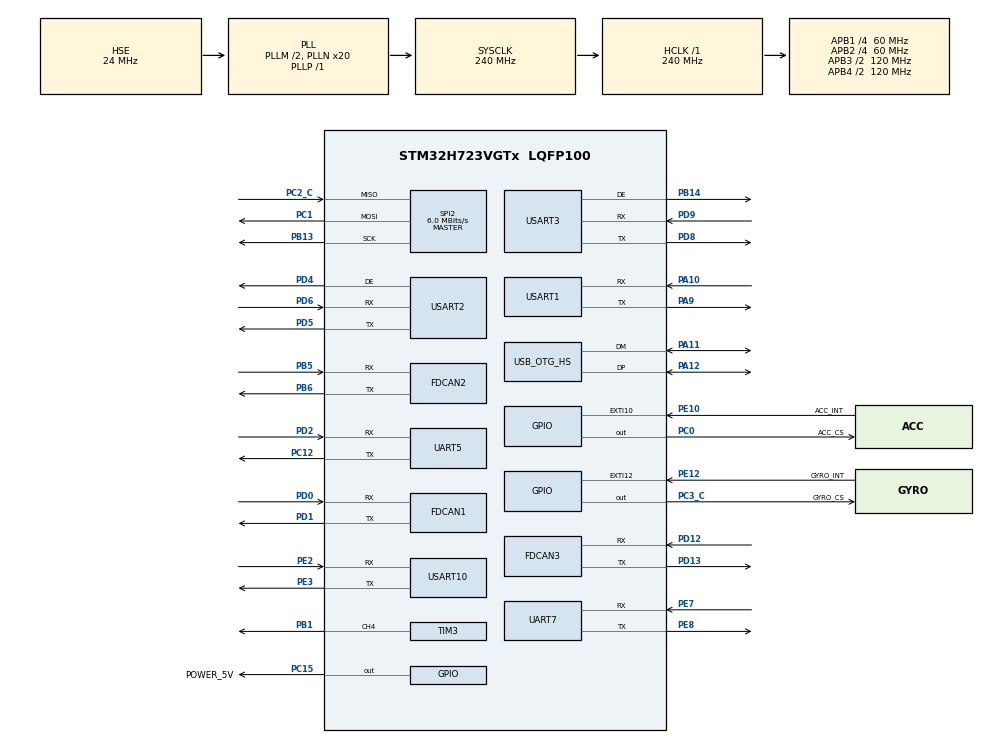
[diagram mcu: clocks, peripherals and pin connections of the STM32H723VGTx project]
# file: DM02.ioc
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CORTEX_M7.default_mode_Activation=1
FDCAN1.CalculateBaudRateNominal=1000000
FDCAN1.CalculateTimeBitNominal=1000
FDCAN1.CalculateTimeQuantumNominal=333.3333333333333
FDCAN2.CalculateBaudRateNominal=1000000
FDCAN2.CalculateTimeBitNominal=1000
FDCAN2.CalculateTimeQuantumNominal=333.3333333333333
FDCAN3.CalculateBaudRateNominal=1000000
FDCAN3.CalculateTimeBitNominal=1000
FDCAN3.CalculateTimeQuantumNominal=333.3333333333333
FREERTOS.Queues01=attitudeQueue,4,imu_msg_t,0,Dynamic,NULL,NULL
FREERTOS.Tasks01=defaultTask,24,128,StartDefaultTask,Default,NULL,Dynamic,NULL,NULL;usbTask,24,512,StartUsbTask,Default,NULL,Dynamic,NULL,NULL;heartbeatTask,8,128,StartHeartbeatTask,Default,NULL,Dynamic,NULL,NULL;imuTask,40,1024,StartImuTask,Default,NULL,Dynamic,NULL,NULL;statsTask,8,512,StartStatsTask,Default,NULL,Dynamic,NULL,NULL
FREERTOS.configTOTAL_HEAP_SIZE=32768
Mcu.Family=STM32H7
Mcu.Name=STM32H723VGTx
Mcu.Package=LQFP100
NVIC.OTG_HS_IRQn=true\:5\:0\:false\:false\:true\:true\:false\:true\:true
NVIC.PriorityGroup=NVIC_PRIORITYGROUP_4
NVIC.TIM15_IRQn=true\:15\:0\:false\:false\:true\:false\:false\:true\:true
NVIC.TIM6_DAC_IRQn=true\:6\:0\:true\:false\:true\:true\:true\:true\:true
NVIC.TIM7_IRQn=true\:6\:0\:true\:false\:true\:true\:true\:true\:true
NVIC.TimeBase=TIM15_IRQn
NVIC.TimeBaseIP=TIM15
PA10.Mode=Asynchronous
PA10.Signal=USART1_RX
PA11.Mode=Device_Only_FS
PA11.Signal=USB_OTG_HS_DM
PA12.Mode=Device_Only_FS
PA12.Signal=USB_OTG_HS_DP
PA13(JTMS/SWDIO).Mode=Serial_Wire
PA13(JTMS/SWDIO).Signal=DEBUG_JTMS-SWDIO
PA14(JTCK/SWCLK).Mode=Serial_Wire
PA14(JTCK/SWCLK).Signal=DEBUG_JTCK-SWCLK
PA9.Mode=Asynchronous
PA9.Signal=USART1_TX
PB1.Signal=S_TIM3_CH4
PB13.Mode=Full_Duplex_Master
PB13.Signal=SPI2_SCK
PB14.Mode=Hardware Flow Control (RS485)
PB14.Signal=USART3_DE
PB5.Mode=FDCAN_Activate
PB5.Signal=FDCAN2_RX
PB6.Mode=FDCAN_Activate
PB6.Signal=FDCAN2_TX
PC0.GPIO_Label=ACC_CS
PC0.GPIO_Speed=GPIO_SPEED_FREQ_VERY_HIGH
PC0.PinState=GPIO_PIN_SET
PC0.Signal=GPIO_Output
PC1.Mode=Full_Duplex_Master
PC1.Signal=SPI2_MOSI
PC12.Mode=Asynchronous
PC12.Signal=UART5_TX
PC15-OSC32_OUT.GPIO_Label=POWER_5V
PC15-OSC32_OUT.PinState=GPIO_PIN_SET
PC15-OSC32_OUT.Signal=GPIO_Output
PC2_C.Mode=Full_Duplex_Master
PC2_C.Signal=SPI2_MISO
PC3_C.GPIO_Label=GYRO_CS
PC3_C.GPIO_Speed=GPIO_SPEED_FREQ_VERY_HIGH
PC3_C.PinState=GPIO_PIN_SET
PC3_C.Signal=GPIO_Output
PD0.Mode=FDCAN_Activate
PD0.Signal=FDCAN1_RX
PD1.Mode=FDCAN_Activate
PD1.Signal=FDCAN1_TX
PD12.Mode=FDCAN_Activate
PD12.Signal=FDCAN3_RX
PD13.Mode=FDCAN_Activate
PD13.Signal=FDCAN3_TX
PD2.Mode=Asynchronous
PD2.Signal=UART5_RX
PD4.Mode=Hardware Flow Control (RS485)
PD4.Signal=USART2_DE
PD5.Mode=Asynchronous
PD5.Signal=USART2_TX
PD6.Mode=Asynchronous
PD6.Signal=USART2_RX
PD8.Mode=Asynchronous
PD8.Signal=USART3_TX
PD9.Mode=Asynchronous
PD9.Signal=USART3_RX
PE10.GPIO_Label=ACC_INT
PE10.Signal=GPXTI10
PE12.GPIO_Label=GYRO_INT
PE12.Signal=GPXTI12
PE2.Mode=Asynchronous
PE2.Signal=USART10_RX
PE3.Mode=Asynchronous
PE3.Signal=USART10_TX
PE7.Mode=Asynchronous
PE7.Signal=UART7_RX
PE8.Mode=Asynchronous
PE8.Signal=UART7_TX
PH0-OSC_IN.Mode=HSE-External-Oscillator
PH0-OSC_IN.Signal=RCC_OSC_IN
PH1-OSC_OUT.Mode=HSE-External-Oscillator
PH1-OSC_OUT.Signal=RCC_OSC_OUT
ProjectManager.HeapSize=0x200
ProjectManager.StackSize=0x400
ProjectManager.TargetToolchain=CMake
RCC.ADCFreq_Value=240000000
RCC.APB1Freq_Value=60000000
RCC.APB2Freq_Value=60000000
RCC.APB3Freq_Value=120000000
RCC.APB4Freq_Value=120000000
RCC.CortexFreq_Value=240000000
RCC.D1PPRE=RCC_APB3_DIV2
RCC.D2PPRE1=RCC_APB1_DIV4
RCC.D2PPRE2=RCC_APB2_DIV4
RCC.D3PPRE=RCC_APB4_DIV2
RCC.DIVM1=2
RCC.DIVM2=2
RCC.DIVM3=2
RCC.DIVN1=20
RCC.DIVN2=40
RCC.DIVN3=40
RCC.DIVP1=1
RCC.DIVQ1=5
RCC.DIVQ2=10
RCC.DIVQ3=10
RCC.HCLKFreq_Value=240000000
RCC.HSE_VALUE=24000000
RCC.PLL2FRACN=0
RCC.PLL3FRACN=0
RCC.PLL3_VCO_SEL-AdvancedSettings=RCC_PLL3VCOMEDIUM
RCC.PLLFRACN=0
RCC.PLLSourceVirtual=RCC_PLLSOURCE_HSE
RCC.SYSCLKFreq_VALUE=240000000
RCC.SYSCLKSource=RCC_SYSCLKSOURCE_PLLCLK
RCC.USBFreq_Value=48000000
SH.S_TIM3_CH4.0=TIM3_CH4,PWM Generation4 CH4
SPI2.BaudRatePrescaler=SPI_BAUDRATEPRESCALER_8
SPI2.CLKPhase=SPI_PHASE_2EDGE
SPI2.CLKPolarity=SPI_POLARITY_HIGH
SPI2.CalculateBaudRate=6.0 MBits/s
SPI2.DataSize=SPI_DATASIZE_8BIT
SPI2.Direction=SPI_DIRECTION_2LINES
SPI2.Mode=SPI_MODE_MASTER
SPI2.VirtualType=VM_MASTER
TIM3.Channel-PWM\ Generation4\ CH4=TIM_CHANNEL_4
TIM3.Prescaler=24-1
TIM6.AutoReloadPreload=TIM_AUTORELOAD_PRELOAD_ENABLE
TIM6.Period=1000-1
TIM6.Prescaler=240-1
TIM7.AutoReloadPreload=TIM_AUTORELOAD_PRELOAD_ENABLE
TIM7.Period=1000-1
TIM7.Prescaler=240-1
USART1.VirtualMode-Asynchronous=VM_ASYNC
USART10.VirtualMode=VM_ASYNC
USART2.VirtualMode-Asynchronous=VM_ASYNC
USART2.VirtualMode-Hardware\ Flow\ Control\ (RS485)=VM_ASYNC
USART3.VirtualMode-Asynchronous=VM_ASYNC
USART3.VirtualMode-Hardware\ Flow\ Control\ (RS485)=VM_ASYNC
USB_DEVICE.CLASS_NAME_HS=CDC
USB_DEVICE.VirtualMode=Cdc
USB_DEVICE.VirtualModeHS=Cdc_HS
USB_OTG_HS.VirtualMode-Device_Only_FS=Device_Only_FS
VP_FREERTOS_VS_CMSIS_V2.Mode=CMSIS_V2
VP_MEMORYMAP_VS_MEMORYMAP.Mode=CurAppReg
VP_SYS_VS_tim15.Mode=TIM15
VP_TIM6_VS_ClockSourceINT.Mode=Enable_Timer
VP_TIM7_VS_ClockSourceINT.Mode=Enable_Timer
VP_USB_DEVICE_VS_USB_DEVICE_CDC_HS.Mode=CDC_HS
board=custom

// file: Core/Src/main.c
/* USER CODE BEGIN Header */
/**
  ******************************************************************************
  * @file           : main.c
  * @brief          : Main program body
  ******************************************************************************
  * @attention
  *
  * Copyright (c) 2026 STMicroelectronics.
  * All rights reserved.
  *
  * This software is licensed under terms that can be found in the LICENSE file
  * in the root directory of this software component.
  * If no LICENSE file comes with this software, it is provided AS-IS.
  *
  ******************************************************************************
  */
/* USER CODE END Header */
#include "main.h"
#include "FreeRTOS.h"
#include "cmsis_os2.h"
#include "fdcan.h"
#include "spi.h"
#include "tim.h"
#include "usart.h"
#include "usb_device.h"
#include "gpio.h"

/* USER CODE BEGIN Includes */
#include "imu.h"
#include "bsp_uart.h"
#include "bsp_usb.h"
#include "vofa.h"
/* USER CODE END Includes */

/* USER CODE BEGIN PV */
/* TIM6(2ms,500Hz)中断直接调 IMU_Update()，不再用标志 */
volatile uint8_t usb_tx_pending = 0;       /* TIM7(1ms计数,每5ms)置位 -> 主循环发送一帧 USB(200Hz) */
extern osThreadId_t imuTaskHandle;   /* 定义在 freertos.c */

/* USER CODE END PV */

void SystemClock_Config(void);
static void MPU_Config(void);
void MX_FREERTOS_Init(void);

int main(void)
{

  /* MPU Configuration--------------------------------------------------------*/
  MPU_Config();

  /* MCU Configuration--------------------------------------------------------*/

  /* Reset of all peripherals, Initializes the Flash interface and the Systick. */
  HAL_Init();

  /* Configure the system clock */
  SystemClock_Config();

  /* Initialize all configured peripherals */
  MX_GPIO_Init();
  MX_FDCAN1_Init();
  MX_FDCAN2_Init();
  MX_FDCAN3_Init();
  MX_UART7_Init();
  MX_USART1_UART_Init();
  MX_USART2_UART_Init();
  MX_USART3_UART_Init();
  MX_USART10_UART_Init();
  MX_SPI2_Init();
  MX_UART5_Init();
  MX_TIM3_Init();
  MX_TIM6_Init();
  MX_TIM7_Init();
  /* USER CODE BEGIN 2 */

  usb_init();                            /* 启动 TinyUSB CDC */
  {
    uint32_t t0 = HAL_GetTick();
    while (!usb_is_ready() && (HAL_GetTick() - t0 < 2000))
    {
      usb_task();
    }
  }
  imu_init_status = IMU_Init();          /* 上电 + 加热PWM + BMI088 + Mahony */

  /* USER CODE END 2 */

  /* Init scheduler */
  osKernelInitialize();  /* Call init function for freertos objects (in cmsis_os2.c) */
  MX_FREERTOS_Init();

  /* Start scheduler */
  osKernelStart();

  /* We should never get here as control is now taken by the scheduler */

  /* Infinite loop */
  while (1)
  {

    /* USER CODE BEGIN 3 */
    usb_task();                           /* TinyUSB 轮询，必须高频调用 */

    /* IMU 更新已由 TIM6 中断直接完成(500Hz)。这里只做必须在 USB 上下文里的事:
     * 按 TIM7 给出的 200Hz 节拍发送 VOFA+ 一帧(tud_cdc_write 不能进中断)。 */
    if (usb_tx_pending)                   /* TIM7: 每5ms -> 200Hz */
    {
      usb_tx_pending = 0;
      vofa_send_imu();
    }
  }

  /* USER CODE END 3 */
}

void SystemClock_Config(void)
{
  RCC_OscInitTypeDef RCC_OscInitStruct = {0};
  RCC_ClkInitTypeDef RCC_ClkInitStruct = {0};

  /** Supply configuration update enable
  */
  HAL_PWREx_ConfigSupply(PWR_LDO_SUPPLY);

  /** Configure the main internal regulator output voltage
  */
  __HAL_PWR_VOLTAGESCALING_CONFIG(PWR_REGULATOR_VOLTAGE_SCALE0);

  while(!__HAL_PWR_GET_FLAG(PWR_FLAG_VOSRDY)) {}

  /** Initializes the RCC Oscillators according to the specified parameters
  * in the RCC_OscInitTypeDef structure.
  */
  RCC_OscInitStruct.OscillatorType = RCC_OSCILLATORTYPE_HSE;
  RCC_OscInitStruct.HSEState = RCC_HSE_ON;
  RCC_OscInitStruct.PLL.PLLState = RCC_PLL_ON;
  RCC_OscInitStruct.PLL.PLLSource = RCC_PLLSOURCE_HSE;
  RCC_OscInitStruct.PLL.PLLM = 2;
  RCC_OscInitStruct.PLL.PLLN = 20;
  RCC_OscInitStruct.PLL.PLLP = 1;
  RCC_OscInitStruct.PLL.PLLQ = 5;
  RCC_OscInitStruct.PLL.PLLR = 2;
  RCC_OscInitStruct.PLL.PLLRGE = RCC_PLL1VCIRANGE_3;
  RCC_OscInitStruct.PLL.PLLVCOSEL = RCC_PLL1VCOWIDE;
  RCC_OscInitStruct.PLL.PLLFRACN = 0;
  if (HAL_RCC_OscConfig(&RCC_OscInitStruct) != HAL_OK)
  {
    Error_Handler();
  }

  /** Initializes the CPU, AHB and APB buses clocks
  */
  RCC_ClkInitStruct.ClockType = RCC_CLOCKTYPE_HCLK|RCC_CLOCKTYPE_SYSCLK
                              |RCC_CLOCKTYPE_PCLK1|RCC_CLOCKTYPE_PCLK2
                              |RCC_CLOCKTYPE_D3PCLK1|RCC_CLOCKTYPE_D1PCLK1;
  RCC_ClkInitStruct.SYSCLKSource = RCC_SYSCLKSOURCE_PLLCLK;
  RCC_ClkInitStruct.SYSCLKDivider = RCC_SYSCLK_DIV1;
  RCC_ClkInitStruct.AHBCLKDivider = RCC_HCLK_DIV1;
  RCC_ClkInitStruct.APB3CLKDivider = RCC_APB3_DIV2;
  RCC_ClkInitStruct.APB1CLKDivider = RCC_APB1_DIV4;
  RCC_ClkInitStruct.APB2CLKDivider = RCC_APB2_DIV4;
  RCC_ClkInitStruct.APB4CLKDivider = RCC_APB4_DIV2;

  if (HAL_RCC_ClockConfig(&RCC_ClkInitStruct, FLASH_LATENCY_3) != HAL_OK)
  {
    Error_Handler();
  }
}

/* USER CODE BEGIN 4 */
/* 注意: HAL_TIM_PeriodElapsedCallback 现在全工程只有一个——CubeMX 因 HAL 时基用了 TIM15,
 * 在下方生成区(MPU_Config 之后)生成了它(TIM15 -> HAL_IncTick)。我们的 TIM6/TIM7 逻辑
 * 已合并进那个回调的 USER CODE BEGIN Callback 0 段, 故此处不再重复定义, 否则会重定义冲突。 */
/* USER CODE END 4 */

 /* MPU Configuration */

void MPU_Config(void)
{
  MPU_Region_InitTypeDef MPU_InitStruct = {0};

  /* Disables the MPU */
  HAL_MPU_Disable();

  /** Initializes and configures the Region and the memory to be protected
  */
  MPU_InitStruct.Enable = MPU_REGION_ENABLE;
  MPU_InitStruct.Number = MPU_REGION_NUMBER0;
  MPU_InitStruct.BaseAddress = 0x0;
  MPU_InitStruct.Size = MPU_REGION_SIZE_4GB;
  MPU_InitStruct.SubRegionDisable = 0x87;
  MPU_InitStruct.TypeExtField = MPU_TEX_LEVEL0;
  MPU_InitStruct.AccessPermission = MPU_REGION_NO_ACCESS;
  MPU_InitStruct.DisableExec = MPU_INSTRUCTION_ACCESS_DISABLE;
  MPU_InitStruct.IsShareable = MPU_ACCESS_SHAREABLE;
  MPU_InitStruct.IsCacheable = MPU_ACCESS_NOT_CACHEABLE;
  MPU_InitStruct.IsBufferable = MPU_ACCESS_NOT_BUFFERABLE;

  HAL_MPU_ConfigRegion(&MPU_InitStruct);
  /* Enables the MPU */
  HAL_MPU_Enable(MPU_PRIVILEGED_DEFAULT);

}

void HAL_TIM_PeriodElapsedCallback(TIM_HandleTypeDef *htim)
{
  /* USER CODE BEGIN Callback 0 */
  /* 应用定时器: TIM6/TIM7(TIM15 是 HAL 时基,在下面生成区处理)。
   * 三者互斥(htim 一次只是一个),放这里 regen 安全。 */

  if (htim->Instance == TIM6)
  {
    osThreadFlagsSet(imuTaskHandle, 0x01U);   /* 只叫醒 imuTask,中断里不再算 EKF */
    return;
  }

  if (htim->Instance == TIM7)            /* 1ms计数, 每5次(5ms,200Hz)置发送标志 */
  {
    static uint8_t USB_counter = 0;
    if (++USB_counter >= 5) { USB_counter = 0; usb_tx_pending = 1; }
    return;
  }

  /* USER CODE END Callback 0 */
  if (htim->Instance == TIM15)
  {
    HAL_IncTick();
  }
}

void Error_Handler(void)
{
  __disable_irq();
  while (1)
  {
  }
}

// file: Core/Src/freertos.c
/* USER CODE BEGIN Header */
/**
  ******************************************************************************
  * File Name          : freertos.c
  * Description        : Code for freertos applications
  ******************************************************************************
  * @attention
  *
  * Copyright (c) 2026 STMicroelectronics.
  * All rights reserved.
  *
  * This software is licensed under terms that can be found in the LICENSE file
  * in the root directory of this software component.
  * If no LICENSE file comes with this software, it is provided AS-IS.
  *
  ******************************************************************************
  */
/* USER CODE END Header */

#include "FreeRTOS.h"
#include "task.h"
#include "main.h"
#include "FreeRTOS.h"
#include "cmsis_os2.h"

/* USER CODE BEGIN Includes */
#include "bsp_usb.h"    /* usb_task() */
#include "vofa.h"       /* vofa_send_imu() */
#include "imu.h"        /* IMU_Update() */
#include "bsp_uart.h"   /* uart_send() -> USART1 */
#include "prio_inv.h"   /* 优先级反转 demo(默认关,PRIO_INV_DEMO) */
#include "menu_task.h"  /* MC02 LCD menu */
#include <string.h>
#include <stdio.h>     /* snprintf */

/* USER CODE END Includes */

/* USER CODE BEGIN Variables */
volatile uint32_t heartbeat_count = 0;

/* Step7b: 保护共享外设 USART1 的互斥锁。
 * statsTask 打印整张任务表、heartbeatTask 打印心跳行,两个低优先级任务抢同一个
 * huart1;uart_send 是阻塞式 HAL_UART_Transmit,没锁时会交错/撞 HAL_BUSY 丢字 ->
 * 任务表被 [HB] 行劈开、串口花屏。用互斥锁把"对 USART1 的一次完整打印"变成临界区:
 * 谁先拿到锁谁先打完,另一个等。互斥锁(非二值信号量):有所有权 + 优先级继承。 */
osMutexId_t uart1MutexHandle;
const osMutexAttr_t uart1Mutex_attributes = { .name = "uart1Mutex" };

/* USER CODE END Variables */
/* Definitions for defaultTask */
osThreadId_t defaultTaskHandle;
const osThreadAttr_t defaultTask_attributes = {
  .name = "defaultTask",
  .stack_size = 128 * 4,
  .priority = (osPriority_t) osPriorityNormal,
};
/* Definitions for usbTask */
osThreadId_t usbTaskHandle;
const osThreadAttr_t usbTask_attributes = {
  .name = "usbTask",
  .stack_size = 512 * 4,
  .priority = (osPriority_t) osPriorityNormal,
};
/* Definitions for heartbeatTask */
osThreadId_t heartbeatTaskHandle;
const osThreadAttr_t heartbeatTask_attributes = {
  .name = "heartbeatTask",
  .stack_size = 128 * 4,
  .priority = (osPriority_t) osPriorityLow,
};
/* Definitions for imuTask */
osThreadId_t imuTaskHandle;
const osThreadAttr_t imuTask_attributes = {
  .name = "imuTask",
  .stack_size = 1024 * 4,
  .priority = (osPriority_t) osPriorityHigh,
};
/* Definitions for statsTask */
osThreadId_t statsTaskHandle;
const osThreadAttr_t statsTask_attributes = {
  .name = "statsTask",
  .stack_size = 512 * 4,
  .priority = (osPriority_t) osPriorityLow,
};
/* Definitions for attitudeQueue */
osMessageQueueId_t attitudeQueueHandle;
const osMessageQueueAttr_t attitudeQueue_attributes = {
  .name = "attitudeQueue"
};

void StartDefaultTask(void *argument);
void StartUsbTask(void *argument);
void StartHeartbeatTask(void *argument);
void StartImuTask(void *argument);
void StartStatsTask(void *argument);

extern void MX_USB_DEVICE_Init(void);
void MX_FREERTOS_Init(void); /* (MISRA C 2004 rule 8.1) */

void MX_FREERTOS_Init(void) {

  /* USER CODE BEGIN RTOS_MUTEX */
  /* Step7b: 创建 USART1 互斥锁(必须在任务创建之前) */
  uart1MutexHandle = osMutexNew(&uart1Mutex_attributes);
  /* USER CODE END RTOS_MUTEX */

  /* Create the queue(s) */
  /* creation of attitudeQueue */
  attitudeQueueHandle = osMessageQueueNew (4, sizeof(imu_msg_t), &attitudeQueue_attributes);

  /* Create the thread(s) */
  /* creation of defaultTask */
  defaultTaskHandle = osThreadNew(StartDefaultTask, NULL, &defaultTask_attributes);

  /* creation of usbTask */
  usbTaskHandle = osThreadNew(StartUsbTask, NULL, &usbTask_attributes);

  /* creation of heartbeatTask */
  heartbeatTaskHandle = osThreadNew(StartHeartbeatTask, NULL, &heartbeatTask_attributes);

  /* creation of imuTask */
  imuTaskHandle = osThreadNew(StartImuTask, NULL, &imuTask_attributes);

  /* creation of statsTask */
  statsTaskHandle = osThreadNew(StartStatsTask, NULL, &statsTask_attributes);

  /* USER CODE BEGIN RTOS_THREADS */
  MenuTask_Init();
#ifdef PRIO_INV_DEMO
  PrioInvDemo_Init();   /* 创建 L/M/H 三个 demo 任务 + 共享锁(调度器启动前) */
#endif
  /* USER CODE END RTOS_THREADS */

}

void StartDefaultTask(void *argument)
{
  /* init code for USB_DEVICE */
  MX_USB_DEVICE_Init();
  for(;;)
  {
    osDelay(1);
  }
}

void StartUsbTask(void *argument)
{
  /* USER CODE BEGIN StartUsbTask */
  /* Infinite loop */
  uint32_t tx_div = 0;
  imu_msg_t m;
  uint8_t have = 0;
  for (;;)
  {
    usb_task();
    /* 排空队列只留最新一帧 */
    while (osMessageQueueGet(attitudeQueueHandle, &m, NULL, 0U) == osOK) { have = 1; }
    if (++tx_div >= 5)
    {
      tx_div = 0;
      if (have)
      {
        float ch[5] = { m.roll, m.pitch, m.yaw, m.yaw_total, m.temp };
        vofa_send_floats(ch, 5);   /* ★发队列取来的这帧,不再读全局 */
      }
    }
    osDelay(1);
  }
  /* USER CODE END StartUsbTask */
}

void StartHeartbeatTask(void *argument)
{
  /* USER CODE BEGIN StartHeartbeatTask */
  /* Infinite loop */
  for (;;)
  {
    heartbeat_count++;
    /* Step7b 演示:故意也往 USART1 打印,和 statsTask 抢同一个串口 */
    char hb[24];
    int n = snprintf(hb, sizeof(hb), "[HB %lu]\r\n", (unsigned long)heartbeat_count);
    /* Step7b: 同样拿锁再打印 -> 心跳行只会出现在两张表之间,绝不劈开表 */
    osMutexAcquire(uart1MutexHandle, osWaitForever);
    uart_send((const uint8_t *)hb, n);
    osMutexRelease(uart1MutexHandle);
    osDelay(2);     /* 演示:从 100 改到 2(~500Hz),让它在表格打印途中频繁插入 */

  }

  /* USER CODE END StartHeartbeatTask */
}

void StartImuTask(void *argument)
{
  /* USER CODE BEGIN StartImuTask */
  /* Infinite loop */
  for (;;)
  {
    /* 阻塞等 TIM6 发来的通知(标志位bit0);没通知就一直睡,不占CPU */
    osThreadFlagsWait(0x01U, osFlagsWaitAny, osWaitForever);
    IMU_Update();    /* 收到通知 -> 算 EKF(原来在 TIM6 中断里,现在挪到任务) */

    /* 打包成一帧投进队列(满了丢,只保最新姿态) */
    imu_msg_t m = { imu_roll, imu_pitch, imu_yaw, imu_yaw_total, imu_temp };
    osMessageQueuePut(attitudeQueueHandle, &m, 0U, 0U);

  }
  /* USER CODE END StartImuTask */
}

void StartStatsTask(void *argument)
{
  /* USER CODE BEGIN StartStatsTask */
  static TaskStatus_t cur[16];      /* 本次快照(static:放.bss,不占任务栈) */
  static TaskHandle_t prevH[16];    /* 上次各任务的句柄 */
  static uint32_t     prevRun[16];  /* 上次各任务的累计运行计数 */
  static UBaseType_t  prevN     = 0;
  static uint32_t     prevTotal = 0;
  char line[80];

  for (;;)
  {
    uint32_t    total = 0;
    UBaseType_t n = uxTaskGetSystemState(cur, 16, &total);  /* 一次拿全:名/态/优先级/栈/运行计数 */
    uint32_t    totalDelta = total - prevTotal;             /* 这≈1秒 CPU 总周期(无符号减,绕回安全) */
    if (totalDelta == 0u) totalDelta = 1u;                  /* 防首次除零 */

    /* Step7b: 拿锁 -> 整张表(表头/各行/IMU us 行)作为一个临界区一次打完,
     * 期间 heartbeatTask 想打印会阻塞在锁上等,打不进表中间 */
    osMutexAcquire(uart1MutexHandle, osWaitForever);

    const char *hdr = "\r\n== Task         St Pri Stk CPU% ==\r\n";
    uart_send((const uint8_t *)hdr, strlen(hdr));

    for (UBaseType_t i = 0; i < n; i++)
    {
      uint32_t prev = 0;                                    /* 在上次快照里按句柄找同一任务 */
      for (UBaseType_t j = 0; j < prevN; j++)
        if (prevH[j] == cur[i].xHandle) { prev = prevRun[j]; break; }

      uint32_t d   = cur[i].ulRunTimeCounter - prev;        /* 这任务这1秒用掉的周期 */
      uint32_t pct = (uint32_t)((uint64_t)d * 100u / totalDelta);

      char s;
      switch (cur[i].eCurrentState) {
        case eRunning:   s = 'X'; break;   /* 正在跑 */
        case eReady:     s = 'R'; break;   /* 就绪 */
        case eBlocked:   s = 'B'; break;   /* 阻塞(osDelay/等通知) */
        case eSuspended: s = 'S'; break;   /* 挂起 */
        default:         s = '?'; break;
      }
      int len = snprintf(line, sizeof(line), "%-12s %c  %2lu %4u %3lu\r\n",
                         cur[i].pcTaskName, s,
                         (unsigned long)cur[i].uxCurrentPriority,
                         (unsigned)cur[i].usStackHighWaterMark,
                         (unsigned long)pct);
      uart_send((const uint8_t *)line, len);
    }

    for (UBaseType_t i = 0; i < n; i++) { prevH[i] = cur[i].xHandle; prevRun[i] = cur[i].ulRunTimeCounter; }
    prevN = n; prevTotal = total;

    /* Step① 调试:打印 IMU_Update 三段耗时(µs),定位 SPI/EKF/PID 瓶颈 */
    {
      extern volatile uint32_t dbg_us_spi, dbg_us_ekf, dbg_us_pid;
      int dn = snprintf(line, sizeof(line), "IMU us: SPI=%lu EKF=%lu PID=%lu\r\n",
                        (unsigned long)dbg_us_spi, (unsigned long)dbg_us_ekf, (unsigned long)dbg_us_pid);
      uart_send((const uint8_t *)line, dn);
    }

#ifdef PRIO_INV_DEMO
    /* 优先级反转 demo:H 测得的等锁延迟(µs)。对比 BIN-SEM 与 MUTEX 两次烧录的数值 */
    {
      extern volatile uint32_t g_prioinv_wait_us, g_prioinv_wait_max_us;
      int pn = snprintf(line, sizeof(line), "PRIO-INV[%s] H wait=%lu us (max %lu)\r\n",
                        PrioInvDemo_LockKind(),
                        (unsigned long)g_prioinv_wait_us, (unsigned long)g_prioinv_wait_max_us);
      uart_send((const uint8_t *)line, pn);
    }
#endif

    osMutexRelease(uart1MutexHandle);                       /* Step7b: 出临界区,放行 heartbeatTask */

    osDelay(1000);                                          /* 1秒一刷,正好定义了"每秒CPU%" */
  }
  /* USER CODE END StartStatsTask */
}

/* USER CODE BEGIN Application */

/* 运行时统计时基 = DWT 周期计数器(240MHz) */
void RunTimeStats_Init(void)
{
  CoreDebug->DEMCR |= CoreDebug_DEMCR_TRCENA_Msk;   /* 使能内核跟踪单元 */
  DWT->CYCCNT = 0u;
  DWT->CTRL  |= DWT_CTRL_CYCCNTENA_Msk;             /* 启动 CYCCNT 自由计数 */
}
uint32_t RunTimeStats_GetCount(void)
{
  return DWT->CYCCNT;
}

/* USER CODE END Application */
